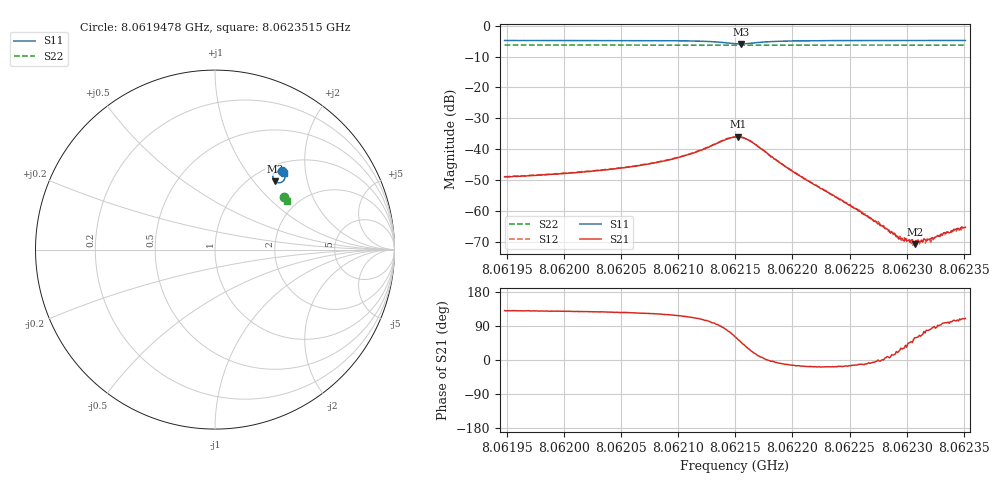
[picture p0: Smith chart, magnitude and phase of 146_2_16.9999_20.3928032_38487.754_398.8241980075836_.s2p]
#  HZ  S  RI  R  50.00
! Rohde & Schwarz Vector Network Analyzer
! Rohde-Schwarz,ZNB20-2Port,1311601062101988,3.16
! Created: UTC 3/20/2024, 10:58:39 PM
! freq[Hz]  re:S11  im:S11  re:S21  im:S21  re:S12  im:S12  re:S22  im:S22
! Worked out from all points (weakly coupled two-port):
!   401 points, 8.0619478 GHz to 8.0623515 GHz, reference 50 ohm
!   highest |S21| = -36.01 dB at 8.0621527 GHz (marker M1); lowest = -70.8 dB at 8.0623071 GHz (marker M2)
!   lowest |S11| = -5.9 dB at 8.0621547 GHz (marker M3), VSWR 3.05, Z = 63 + j64.6 ohm
!   |S11| at or under -10 dB: nowhere
!   |S22| runs from -6.4 to -6.3 dB; largest |S21 - S12| = 0.0012
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8.06194778e9  0.373 0.4385  -0.00229 0.00269  -0.00213 0.00287  0.3872 0.2916
8.0620154e9  0.3788 0.4326  -0.00258 0.00334  -0.00242 0.00359  0.3896 0.2882
8.06204366e9  0.3817 0.4292  -0.00281 0.00386  -0.00261 0.00405  0.3906 0.2867
8.06208302e9  0.3865 0.4213  -0.0032 0.00526  -0.00292 0.00548  0.3919 0.2845
8.06211128e9  0.39 0.4088  -0.00322 0.00775  -0.00278 0.00802  0.3927 0.2825
8.06214055e9  0.3732 0.3765  0.0018 0.0138  0.00269 0.0139  0.3923 0.28
8.06214963e9  0.3479 0.373  0.00748 0.0137  0.00829 0.0134  0.3916 0.28
8.06215266e9  0.3386 0.3769  0.00953 0.0126  0.0103 0.012  0.3914 0.2801
8.06215468e9  0.3329 0.3812  0.0104 0.0115  0.0112 0.011  0.3913 0.2803
8.06216477e9  0.3227 0.4102  0.012 0.00477  0.0123 0.00399  0.3915 0.2813
8.06219202e9  0.3497 0.439  0.00537 -0.000984  0.00535 -0.00134  0.394 0.2807
8.06221725e9  0.3636 0.439  0.00264 -0.000834  0.00262 -0.00101  0.3953 0.2794
8.06226065e9  0.3742 0.4352  0.000893 -0.000181  0.00093 -0.000275  0.3972 0.2769
8.06228487e9  0.3778 0.4332  0.00045 4.7e-05  0.000477 6.57e-05  0.3982 0.2757
8.06229598e9  0.3791 0.4324  0.000312 0.000171  0.000304 0.000133  0.3984 0.2752
8.06230001e9  0.3796 0.4322  0.000267 0.000178  0.000262 0.000195  0.3985 0.2749
8.06230506e9  0.3801 0.4317  0.000234 0.000246  0.000184 0.000192  0.3987 0.2747
8.06230708e9  0.3803 0.4314  0.000149 0.000246  0.000198 0.000217  0.3988 0.2745
8.06231919e9  0.3815 0.4306  6.87e-05 0.000335  7.4e-05 0.000328  0.3991 0.274
8.06233635e9  0.383 0.4295  -7.79e-05 0.000437  -5.96e-05 0.000453  0.3998 0.2731
8.06234341e9  0.3838 0.4291  -0.000113 0.000491  -9.29e-05 0.000444  0.3999 0.2727
8.06235149e9  0.3844 0.4285  -0.000181 0.000507  -0.000131 0.000515  0.4003 0.2724
